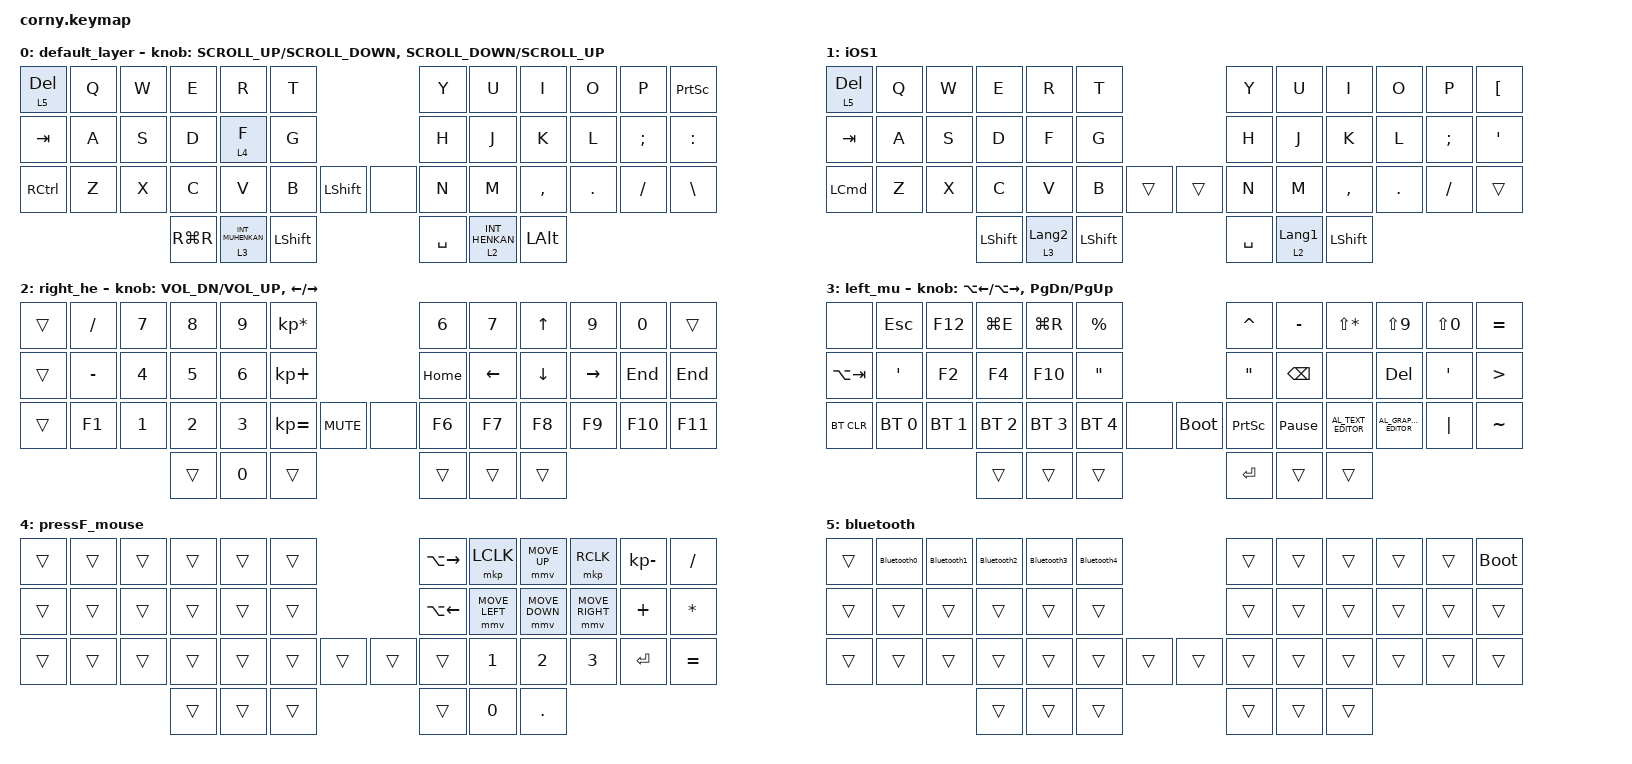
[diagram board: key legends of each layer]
#include <behaviors.dtsi>
#include <dt-bindings/zmk/bt.h>
#include <dt-bindings/zmk/keys.h>
#include <dt-bindings/zmk/pointing.h>

&mt { flavor = "tap-preferred"; };

/ {
    combos { compatible = "zmk,combos"; };

    macros {
        Bluetooth1: Bluetooth1 {
            compatible = "zmk,behavior-macro";
            #binding-cells = <0>;
            bindings = <&bt BT_SEL 1 &tog 1>;
            label = "BLUETOOTH2";
        };

        Bluetooth2: Bluetooth2 {
            compatible = "zmk,behavior-macro";
            #binding-cells = <0>;
            bindings = <&bt BT_SEL 2 &to 0>;
            label = "BLUETOOTH2";
        };

        Bluetooth3: Bluetooth3 {
            compatible = "zmk,behavior-macro";
            #binding-cells = <0>;
            bindings = <&bt BT_SEL 3 &to 0>;
            label = "BLUETOOTH3";
        };

        Bluetooth4: Bluetooth4 {
            compatible = "zmk,behavior-macro";
            #binding-cells = <0>;
            bindings = <&bt BT_SEL 4 &to 0>;
            label = "BLUETOOTH4";
        };

        Bluetooth0: Bluetooth0 {
            compatible = "zmk,behavior-macro";
            #binding-cells = <0>;
            bindings = <&bt BT_SEL 0 &to 0>;
            label = "BLUETOOTH0";
        };
    };

    keymap {
        compatible = "zmk,keymap";

        default_layer {
            // -------------------------------------------------------------------------------------------------
            // |  TAB |  Q  |  W  |  E  |  R  |  T  |                    |  Y  |  U   |  I  |  O  |  P  | BKSP |
            // | CTRL |  A  |  S  |  D  |  F  |  G  |                    |  H  |  J   |  K  |  L  |  ;  |  '   |
            // | SHFT |  Z  |  X  |  C  |  V  |  B  |  MUTE  |  |        |  N  |  M   |  ,  |  .  |  /  | ESC  |
            //                    | GUI | LWR | SPC |                    | ENT | RSE  | ALT |

            bindings = <
&lt 5 DEL  &kp Q  &kp W  &kp E      &kp R               &kp T                                  &kp Y      &kp U             &kp I         &kp O    &kp P     &kp PRINTSCREEN
&kp TAB    &kp A  &kp S  &kp D      &lt 4 F             &kp G                                  &kp H      &kp J             &kp K         &kp L    &kp SEMI  &kp COLON
&kp RCTRL  &kp Z  &kp X  &kp C      &kp V               &kp B           &kp LEFT_SHIFT  &none  &kp N      &kp M             &kp COMMA     &kp DOT  &kp FSLH  &kp BACKSLASH
                         &kp RG(R)  &lt 3 INT_MUHENKAN  &kp LEFT_SHIFT                         &kp SPACE  &lt 2 INT_HENKAN  &kp LEFT_ALT
            >;

            sensor-bindings =
                <&inc_dec_kp K_SCROLL_UP K_SCROLL_DOWN>,
                <&inc_dec_kp K_SCROLL_DOWN K_SCROLL_UP>;
        };

        iOS1 {
            bindings = <
&lt 5 DEL         &kp Q  &kp W  &kp E           &kp R             &kp T                           &kp Y      &kp U             &kp I           &kp O    &kp P     &kp LBKT
&kp TAB           &kp A  &kp S  &kp D           &kp F             &kp G                           &kp H      &kp J             &kp K           &kp L    &kp SEMI  &kp APOS
&kp LEFT_COMMAND  &kp Z  &kp X  &kp C           &kp V             &kp B           &trans  &trans  &kp N      &kp M             &kp COMMA       &kp DOT  &kp FSLH  &trans
                                &kp LEFT_SHIFT  &lt 3 LANGUAGE_2  &kp LEFT_SHIFT                  &kp SPACE  &lt 2 LANGUAGE_1  &kp LEFT_SHIFT
            >;
        };

        right_he {
            // ------------------------------------------------------------------------------------------------
            // |  TAB |  1  |  2  |  3  |  4  |  5  |                    |  6  |  7  |  8  |  9  |  0  | BKSP |
            // | BTCLR| BT1 | BT2 | BT3 | BT4 | BT5 |                    | LFT | DWN |  UP | RGT |     |  F12 |
            // | SHFT | F1  | F2  | F3  | F4  | F5  |  boot  |  |        |  F6 | F7  | F8  | F9  | F10 |  F11 |
            //                    | GUI |     | SPC |                    | ENT |     | ALT |

            bindings = <
&trans  &kp SLASH  &kp N7        &kp N8        &kp N9        &kp KP_ASTERISK                     &kp N6    &kp N7    &kp UP_ARROW  &kp N9           &kp N0   &trans
&trans  &kp MINUS  &kp NUMBER_4  &kp N5        &kp NUMBER_6  &kp KP_PLUS                         &kp HOME  &kp LEFT  &kp DOWN      &kp RIGHT_ARROW  &kp END  &kp END
&trans  &kp F1     &kp NUMBER_1  &kp NUMBER_2  &kp NUMBER_3  &kp KP_EQUAL     &kp K_MUTE  &none  &kp F6    &kp F7    &kp F8        &kp F9           &kp F10  &kp F11
                                 &trans        &kp N0        &trans                              &trans    &trans    &trans
            >;

            sensor-bindings =
                <&inc_dec_kp C_VOL_DN C_VOL_UP>,
                <&inc_dec_kp LEFT_ARROW RIGHT_ARROW>;
        };

        left_mu {
            // ------------------------------------------------------------------------------------------------
            // |  TAB |  !  |  @  |  #  |  $  |  %  |                    |  ^  |  &  |  *  |  (  |  )  | BKSP |
            // | CTRL |     |     |     |     |     |                    |  -  |  =  |  [  |  ]  |  \  |  `   |
            // | SHFT |     |     |     |     |     |        |  |  boot  |  _  |  +  |  {  |  }  | "|" |  ~   |
            //                    | GUI |     | SPC |                    | ENT |     | ALT |

            bindings = <
&none        &kp ESC           &kp F12       &kp LG(E)     &kp LG(R)     &kp PRCNT                              &kp CARET          &kp MINUS        &kp LS(ASTRK)         &kp LS(NUMBER_9)          &kp LS(N0)        &kp EQUAL
&kp LA(TAB)  &kp SINGLE_QUOTE  &kp F2        &kp F4        &kp F10       &kp DOUBLE_QUOTES                      &kp DOUBLE_QUOTES  &kp BACKSPACE    &none                 &kp DELETE                &kp SINGLE_QUOTE  &kp GREATER_THAN
&bt BT_CLR   &bt BT_SEL 0      &bt BT_SEL 1  &bt BT_SEL 2  &bt BT_SEL 3  &bt BT_SEL 4       &none  &bootloader  &kp PRINTSCREEN    &kp PAUSE_BREAK  &kp C_AL_TEXT_EDITOR  &kp C_AL_GRAPHICS_EDITOR  &kp PIPE          &kp TILDE
                                             &trans        &trans        &trans                                 &kp ENTER          &trans           &trans
            >;

            sensor-bindings =
                <&inc_dec_kp LA(LEFT_ARROW) LA(RIGHT_ARROW)>,
                <&inc_dec_kp PAGE_DOWN PAGE_UP>;
        };

        pressF_mouse {
            bindings = <
&trans  &trans  &trans  &trans  &trans  &trans                  &kp LA(RIGHT_ARROW)  &mkp LCLK       &mmv MOVE_UP    &mkp RCLK        &kp KP_MINUS  &kp SLASH
&trans  &trans  &trans  &trans  &trans  &trans                  &kp LA(LEFT_ARROW)   &mmv MOVE_LEFT  &mmv MOVE_DOWN  &mmv MOVE_RIGHT  &kp PLUS      &kp ASTERISK
&trans  &trans  &trans  &trans  &trans  &trans  &trans  &trans  &trans               &kp N1          &kp N2          &kp N3           &kp ENTER     &kp EQUAL
                        &trans  &trans  &trans                  &trans               &kp N0          &kp DOT
            >;
        };

        bluetooth {
            bindings = <
&trans  &Bluetooth0  &Bluetooth1  &Bluetooth2  &Bluetooth3  &Bluetooth4                  &trans  &trans  &trans  &trans  &trans  &bootloader
&trans  &trans       &trans       &trans       &trans       &trans                       &trans  &trans  &trans  &trans  &trans  &trans
&trans  &trans       &trans       &trans       &trans       &trans       &trans  &trans  &trans  &trans  &trans  &trans  &trans  &trans
                                  &trans       &trans       &trans                       &trans  &trans  &trans
            >;
        };
    };
};
